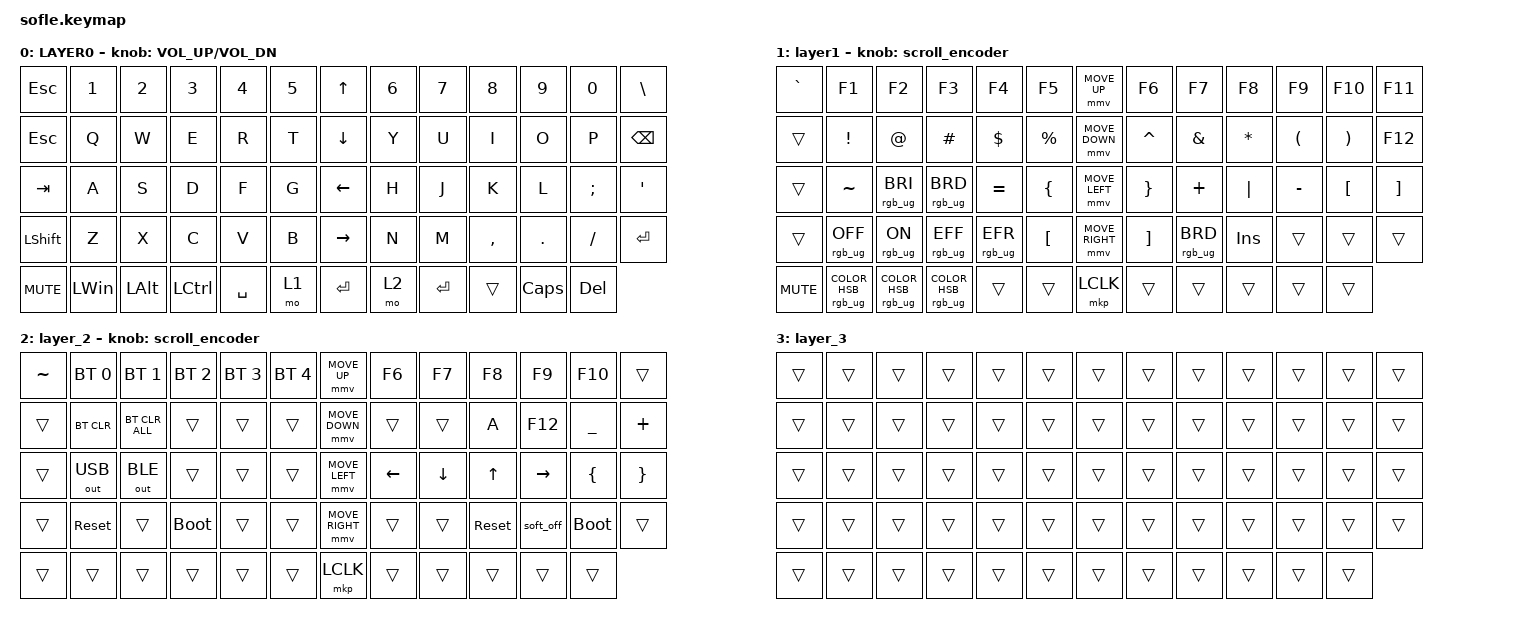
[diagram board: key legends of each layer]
#include <behaviors/mouse_keys.dtsi>
#include <dt-bindings/zmk/mouse.h>
#include <behaviors.dtsi>
#include <dt-bindings/zmk/bt.h>
#include <dt-bindings/zmk/keys.h>
#include <dt-bindings/zmk/outputs.h>
#include <dt-bindings/zmk/pointing.h>
#include <dt-bindings/zmk/rgb.h>

#define ZMK_MOUSE_DEFAULT_MOVE_VAL 1200  // 600
#define ZMK_MOUSE_DEFAULT_SCRL_VAL 20    // 10
#define U_MS_U &mmv MOVE_UP
#define U_MS_D &mmv MOVE_DOWN
#define U_MS_L &mmv MOVE_LEFT
#define U_MS_R &mmv MOVE_RIGHT
#define ZMK_MOUSE_DEFAULT_MOVE_VAL 1200  //  600
#define ZMK_MOUSE_DEFAULT_SCRL_VAL 20    // 10

/ {
    behaviors {
        mmv {
            acceleration-exponent = <1>;      // 1
            time-to-max-speed-ms = <900>;    // 40
            delay-ms = <0>;                   // 0
        };

        msc {
            acceleration-exponent = <1>;      // 0
            time-to-max-speed-ms = <400>;      // 500
            delay-ms = <0>;                   //   10
        };
    };

    scroll_encoder: scroll_encoder {
        compatible = "zmk,behavior-sensor-rotate";
        #sensor-binding-cells = <0>;
        bindings = <&msc SCRL_DOWN>, <&msc SCRL_UP>;

        tap-ms = <30>;
    };

    keymap {
        compatible = "zmk,keymap";

        layer0 {
            bindings = <
&kp ESC     &kp N1        &kp N2        &kp N3            &kp N4     &kp N5    &kp UP_ARROW     &kp N6  &kp N7     &kp N8     &kp N9        &kp N0      &kp BACKSLASH
&kp ESC     &kp Q         &kp W         &kp E             &kp R      &kp T     &kp DOWN_ARROW   &kp Y   &kp U      &kp I      &kp O         &kp P       &kp BACKSPACE
&kp TAB     &kp A         &kp S         &kp D             &kp F      &kp G     &kp LEFT_ARROW   &kp H   &kp J      &kp K      &kp L         &kp SEMI    &kp APOS
&kp LSHFT   &kp Z         &kp X         &kp C             &kp V      &kp B     &kp RIGHT_ARROW  &kp N   &kp M      &kp COMMA  &kp DOT       &kp FSLH    &kp ENTER
&kp C_MUTE  &kp LEFT_WIN  &kp LEFT_ALT  &kp LEFT_CONTROL  &kp SPACE  &mo 1     &kp ENTER        &mo 2   &kp ENTER  &trans     &kp CAPSLOCK  &kp DELETE
            >;

            sensor-bindings = <&inc_dec_kp C_VOLUME_UP C_VOL_DN>;
            display-name = "LAYER0";
        };

        layer_1 {
            bindings = <
&kp GRAVE   &kp F1                          &kp F2                             &kp F3                             &kp F4           &kp F5              &mmv MOVE_UP     &kp F6             &kp F7           &kp F8        &kp F9                &kp F10                &kp F11
&trans      &kp EXCLAMATION                 &kp AT_SIGN                        &kp HASH                           &kp DOLLAR       &kp PERCENT         &mmv MOVE_DOWN   &kp CARET          &kp AMPERSAND    &kp ASTERISK  &kp LEFT_PARENTHESIS  &kp RIGHT_PARENTHESIS  &kp F12
&trans      &kp TILDE                       &rgb_ug RGB_BRI                    &rgb_ug RGB_BRD                    &kp EQUAL        &kp LEFT_BRACE      &mmv MOVE_LEFT   &kp RIGHT_BRACE    &kp PLUS         &kp PIPE      &kp MINUS             &kp LEFT_BRACKET       &kp RIGHT_BRACKET
&trans      &rgb_ug RGB_OFF                 &rgb_ug RGB_ON                     &rgb_ug RGB_EFF                    &rgb_ug RGB_EFR  &kp LEFT_BRACKET    &mmv MOVE_RIGHT  &kp RIGHT_BRACKET  &rgb_ug RGB_BRD  &kp INSERT    &trans                &trans                 &trans
&kp C_MUTE  &rgb_ug RGB_COLOR_HSB(0,0,100)  &rgb_ug RGB_COLOR_HSB(297,100,50)  &rgb_ug RGB_COLOR_HSB(194,100,50)  &trans           &trans              &mkp LCLK        &trans             &trans           &trans        &trans                &trans
            >;

            display-name = "layer1";
            sensor-bindings = <&scroll_encoder>;
        };

        layer_2 {
            bindings = <
&kp TILDE  &bt BT_SEL 0  &bt BT_SEL 1    &bt BT_SEL 2  &bt BT_SEL 3  &bt BT_SEL 4    &mmv MOVE_UP     &kp F6    &kp F7    &kp F8        &kp F9     &kp F10      &trans
&trans     &bt BT_CLR    &bt BT_CLR_ALL  &trans        &trans        &trans          &mmv MOVE_DOWN   &trans    &trans    &kp A         &kp F12    &kp UNDER    &kp PLUS
&trans     &out OUT_USB  &out OUT_BLE    &trans        &trans        &trans          &mmv MOVE_LEFT   &kp LEFT  &kp DOWN  &kp UP_ARROW  &kp RIGHT  &kp LBRC     &kp RBRC
&trans     &sys_reset    &trans          &bootloader   &trans        &trans          &mmv MOVE_RIGHT  &trans    &trans    &sys_reset    &soft_off  &bootloader  &trans
&trans     &trans        &trans          &trans        &trans        &trans          &mkp LCLK        &trans    &trans    &trans        &trans     &trans
            >;

            sensor-bindings = <&scroll_encoder>;
        };

        layer_3 {
            bindings = <
&trans  &trans  &trans  &trans  &trans  &trans    &trans  &trans  &trans  &trans  &trans  &trans  &trans
&trans  &trans  &trans  &trans  &trans  &trans    &trans  &trans  &trans  &trans  &trans  &trans  &trans
&trans  &trans  &trans  &trans  &trans  &trans    &trans  &trans  &trans  &trans  &trans  &trans  &trans
&trans  &trans  &trans  &trans  &trans  &trans    &trans  &trans  &trans  &trans  &trans  &trans  &trans
&trans  &trans  &trans  &trans  &trans  &trans    &trans  &trans  &trans  &trans  &trans  &trans
            >;
        };
    };
};
